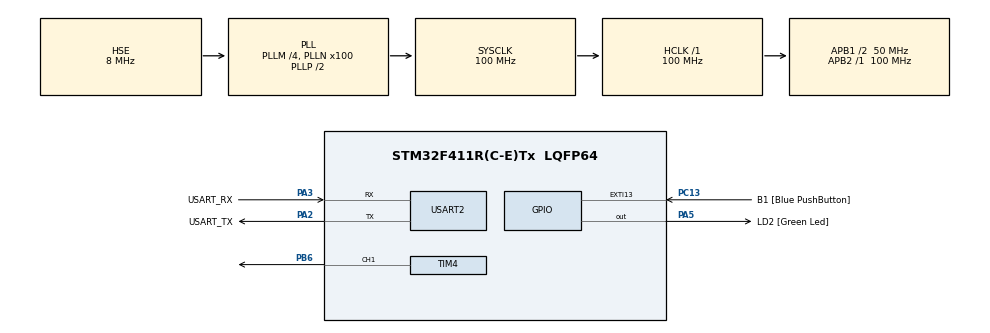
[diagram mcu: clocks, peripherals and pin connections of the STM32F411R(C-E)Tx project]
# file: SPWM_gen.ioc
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Dma.Request0=TIM4_CH1
Dma.TIM4_CH1.0.Direction=DMA_MEMORY_TO_PERIPH
Dma.TIM4_CH1.0.FIFOMode=DMA_FIFOMODE_ENABLE
Dma.TIM4_CH1.0.FIFOThreshold=DMA_FIFO_THRESHOLD_FULL
Dma.TIM4_CH1.0.Instance=DMA1_Stream0
Dma.TIM4_CH1.0.MemBurst=DMA_MBURST_SINGLE
Dma.TIM4_CH1.0.MemDataAlignment=DMA_MDATAALIGN_WORD
Dma.TIM4_CH1.0.MemInc=DMA_MINC_ENABLE
Dma.TIM4_CH1.0.Mode=DMA_CIRCULAR
Dma.TIM4_CH1.0.PeriphBurst=DMA_PBURST_SINGLE
Dma.TIM4_CH1.0.PeriphDataAlignment=DMA_PDATAALIGN_WORD
Dma.TIM4_CH1.0.PeriphInc=DMA_PINC_DISABLE
Dma.TIM4_CH1.0.Priority=DMA_PRIORITY_LOW
Mcu.Family=STM32F4
Mcu.Name=STM32F411R(C-E)Tx
Mcu.Package=LQFP64
NVIC.DMA1_Stream0_IRQn=true\:0\:0\:false\:false\:true\:false\:true\:true
NVIC.PriorityGroup=NVIC_PRIORITYGROUP_0
PA13.GPIO_Label=TMS
PA13.Mode=Serial_Wire
PA13.Signal=SYS_JTMS-SWDIO
PA14.GPIO_Label=TCK
PA14.Mode=Serial_Wire
PA14.Signal=SYS_JTCK-SWCLK
PA2.GPIO_Label=USART_TX
PA2.Mode=Asynchronous
PA2.Signal=USART2_TX
PA3.GPIO_Label=USART_RX
PA3.Mode=Asynchronous
PA3.Signal=USART2_RX
PA5.GPIO_Label=LD2 [Green Led]
PA5.Signal=GPIO_Output
PB3.GPIO_Label=SWO
PB3.Signal=SYS_JTDO-SWO
PB6.Signal=S_TIM4_CH1
PC13-ANTI_TAMP.GPIO_Label=B1 [Blue PushButton]
PC13-ANTI_TAMP.GPIO_ModeDefaultEXTI=GPIO_MODE_IT_FALLING
PC13-ANTI_TAMP.Signal=GPXTI13
PC14-OSC32_IN.Mode=LSE-External-Oscillator
PC14-OSC32_IN.Signal=RCC_OSC32_IN
PC15-OSC32_OUT.Mode=LSE-External-Oscillator
PC15-OSC32_OUT.Signal=RCC_OSC32_OUT
PH0\ -\ OSC_IN.Mode=HSE-External-Clock-Source
PH0\ -\ OSC_IN.Signal=RCC_OSC_IN
PH1\ -\ OSC_OUT.Mode=HSE-External-Clock-Source
PH1\ -\ OSC_OUT.Signal=RCC_OSC_OUT
ProjectManager.HeapSize=0x200
ProjectManager.StackSize=0x400
ProjectManager.TargetToolchain=STM32CubeIDE
RCC.48MHZClocksFreq_Value=50000000
RCC.AHBFreq_Value=100000000
RCC.APB1CLKDivider=RCC_HCLK_DIV2
RCC.APB1Freq_Value=50000000
RCC.APB1TimFreq_Value=100000000
RCC.APB2Freq_Value=100000000
RCC.APB2TimFreq_Value=100000000
RCC.CortexFreq_Value=100000000
RCC.FLatency-AdvancedSettings=FLASH_LATENCY_3
RCC.HCLKFreq_Value=100000000
RCC.HSE_VALUE=8000000
RCC.HSI_VALUE=16000000
RCC.PLLM=4
RCC.PLLN=100
RCC.PLLSourceVirtual=RCC_PLLSOURCE_HSE
RCC.SYSCLKFreq_VALUE=100000000
RCC.SYSCLKSource=RCC_SYSCLKSOURCE_PLLCLK
RCC.VCOOutputFreq_Value=200000000
SH.S_TIM4_CH1.0=TIM4_CH1,PWM Generation1 CH1
TIM4.AutoReloadPreload=TIM_AUTORELOAD_PRELOAD_ENABLE
TIM4.Channel-PWM\ Generation1\ CH1=TIM_CHANNEL_1
TIM4.CounterMode=TIM_COUNTERMODE_CENTERALIGNED1
TIM4.Period=3333
TIM4.Pulse-PWM\ Generation1\ CH1=1
USART2.VirtualMode=VM_ASYNC
board=NUCLEO-F411RE

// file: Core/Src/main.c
/* USER CODE BEGIN Header */
/**
  ******************************************************************************
  * @file           : main.c
  * @brief          : Main program body
  ******************************************************************************
  * @attention
  *
  * Copyright (c) 2025 STMicroelectronics.
  * All rights reserved.
  *
  * This software is licensed under terms that can be found in the LICENSE file
  * in the root directory of this software component.
  * If no LICENSE file comes with this software, it is provided AS-IS.
  *
  ******************************************************************************
  */
/* USER CODE END Header */

#include "main.h"
#include <stdio.h>
#include <string.h>
#include <math.h>               // Necessário para sinf()

/* USER CODE BEGIN PD */
#define CCRValue_BufferSize     300
/* USER CODE END PD */

TIM_HandleTypeDef htim4;
DMA_HandleTypeDef hdma_tim4_ch1;
UART_HandleTypeDef huart2;

/* USER CODE BEGIN PV */
/* Buffer alinhado para DMA (recomendo manter alinhado conforme DMA) */
__attribute__((aligned(32))) uint32_t DiscontinuousSineCCRValue_Buffer[CCRValue_BufferSize];
/* USER CODE END PV */

void SystemClock_Config(void);
static void MX_GPIO_Init(void);
static void MX_DMA_Init(void);
static void MX_USART2_UART_Init(void);
static void MX_TIM4_Init(void);

/* USER CODE BEGIN PFP */
void Generate_Sine_LUT(void);
/* USER CODE END PFP */

/* USER CODE BEGIN 0 */
void Generate_Sine_LUT(void)
{
    const uint32_t PERIOD = 3333;               // Timer Period para 15 kHz PWM (center aligned)
    const uint32_t CENTER = PERIOD / 2;         // Valor central (50% duty)
    const uint32_t AMPLITUDE = (uint32_t)(CENTER * 0.9f);  // 90% amplitude para evitar saturação

    for (int i = 0; i < CCRValue_BufferSize; i++)
    {
        float angle = (2.0f * M_PI * i) / CCRValue_BufferSize;
        float sine_value = sinf(angle);

        int32_t val = CENTER + (int32_t)(AMPLITUDE * sine_value);

        // Limites mínimos e máximos para evitar under/overflow do CCR
        if (val < 10)
            val = 10;
        else if (val >= (int32_t)PERIOD)
            val = PERIOD - 1;

        DiscontinuousSineCCRValue_Buffer[i] = (uint32_t)val;
    }
}
/* USER CODE END 0 */

int main(void)
{

  /* MCU Configuration--------------------------------------------------------*/

  HAL_Init();

  SystemClock_Config();

  MX_GPIO_Init();
  MX_DMA_Init();
  MX_USART2_UART_Init();
  MX_TIM4_Init();

  /* Gerar LUT */
  Generate_Sine_LUT();

  /* Iniciar PWM com DMA */
  HAL_TIM_PWM_Start_DMA(&htim4, TIM_CHANNEL_1, DiscontinuousSineCCRValue_Buffer, CCRValue_BufferSize);

  /* Infinite loop */
  while (1)
  {
    /* Envia leitura atual do CCR1 via UART */
    char msg[32];
    sprintf(msg, "CCR1: %lu\r\n", TIM4->CCR1);
    HAL_UART_Transmit(&huart2, (uint8_t*)msg, strlen(msg), HAL_MAX_DELAY);

    HAL_Delay(10);
  }
}

void SystemClock_Config(void)
{
  RCC_OscInitTypeDef RCC_OscInitStruct = {0};
  RCC_ClkInitTypeDef RCC_ClkInitStruct = {0};

  __HAL_RCC_PWR_CLK_ENABLE();
  __HAL_PWR_VOLTAGESCALING_CONFIG(PWR_REGULATOR_VOLTAGE_SCALE1);

  RCC_OscInitStruct.OscillatorType = RCC_OSCILLATORTYPE_HSE;
  RCC_OscInitStruct.HSEState = RCC_HSE_BYPASS;
  RCC_OscInitStruct.PLL.PLLState = RCC_PLL_ON;
  RCC_OscInitStruct.PLL.PLLSource = RCC_PLLSOURCE_HSE;
  RCC_OscInitStruct.PLL.PLLM = 4;
  RCC_OscInitStruct.PLL.PLLN = 100;
  RCC_OscInitStruct.PLL.PLLP = RCC_PLLP_DIV2;
  RCC_OscInitStruct.PLL.PLLQ = 4;
  if (HAL_RCC_OscConfig(&RCC_OscInitStruct) != HAL_OK)
  {
    Error_Handler();
  }

  RCC_ClkInitStruct.ClockType = RCC_CLOCKTYPE_HCLK|RCC_CLOCKTYPE_SYSCLK
                              |RCC_CLOCKTYPE_PCLK1|RCC_CLOCKTYPE_PCLK2;

  RCC_ClkInitStruct.SYSCLKSource = RCC_SYSCLKSOURCE_PLLCLK;
  RCC_ClkInitStruct.AHBCLKDivider = RCC_SYSCLK_DIV1;
  RCC_ClkInitStruct.APB1CLKDivider = RCC_HCLK_DIV2;
  RCC_ClkInitStruct.APB2CLKDivider = RCC_HCLK_DIV1;

  if (HAL_RCC_ClockConfig(&RCC_ClkInitStruct, FLASH_LATENCY_3) != HAL_OK)
  {
    Error_Handler();
  }
}

static void MX_TIM4_Init(void)
{
  TIM_MasterConfigTypeDef sMasterConfig = {0};
  TIM_OC_InitTypeDef sConfigOC = {0};

  htim4.Instance = TIM4;
  htim4.Init.Prescaler = 0;                          // Prescaler 0 para maior resolução
  htim4.Init.CounterMode = TIM_COUNTERMODE_CENTERALIGNED1;
  htim4.Init.Period = 3333;                          // Período para 15kHz PWM (ajustar conforme clock timer)
  htim4.Init.ClockDivision = TIM_CLOCKDIVISION_DIV1;
  htim4.Init.AutoReloadPreload = TIM_AUTORELOAD_PRELOAD_ENABLE;
  if (HAL_TIM_PWM_Init(&htim4) != HAL_OK)
  {
    Error_Handler();
  }

  sMasterConfig.MasterOutputTrigger = TIM_TRGO_RESET;
  sMasterConfig.MasterSlaveMode = TIM_MASTERSLAVEMODE_DISABLE;

  if (HAL_TIMEx_MasterConfigSynchronization(&htim4, &sMasterConfig) != HAL_OK)
  {
    Error_Handler();
  }

  sConfigOC.OCMode = TIM_OCMODE_PWM1;
  sConfigOC.Pulse = 1667;   // Inicial 50%
  sConfigOC.OCPolarity = TIM_OCPOLARITY_HIGH;
  sConfigOC.OCFastMode = TIM_OCFAST_DISABLE;
  if (HAL_TIM_PWM_ConfigChannel(&htim4, &sConfigOC, TIM_CHANNEL_1) != HAL_OK)
  {
    Error_Handler();
  }

  HAL_TIM_MspPostInit(&htim4);
}

static void MX_USART2_UART_Init(void)
{
  huart2.Instance = USART2;
  huart2.Init.BaudRate = 115200;
  huart2.Init.WordLength = UART_WORDLENGTH_8B;
  huart2.Init.StopBits = UART_STOPBITS_1;
  huart2.Init.Parity = UART_PARITY_NONE;
  huart2.Init.Mode = UART_MODE_TX_RX;
  huart2.Init.HwFlowCtl = UART_HWCONTROL_NONE;
  huart2.Init.OverSampling = UART_OVERSAMPLING_16;
  if (HAL_UART_Init(&huart2) != HAL_OK)
  {
    Error_Handler();
  }
}

static void MX_DMA_Init(void)
{
  __HAL_RCC_DMA1_CLK_ENABLE();

  /* Configure NVIC for DMA stream handling */
  HAL_NVIC_SetPriority(DMA1_Stream0_IRQn, 0, 0);
  HAL_NVIC_EnableIRQ(DMA1_Stream0_IRQn);
}

static void MX_GPIO_Init(void)
{
  GPIO_InitTypeDef GPIO_InitStruct = {0};

  __HAL_RCC_GPIOC_CLK_ENABLE();
  __HAL_RCC_GPIOH_CLK_ENABLE();
  __HAL_RCC_GPIOA_CLK_ENABLE();
  __HAL_RCC_GPIOB_CLK_ENABLE();

  HAL_GPIO_WritePin(LD2_GPIO_Port, LD2_Pin, GPIO_PIN_RESET);

  GPIO_InitStruct.Pin = B1_Pin;
  GPIO_InitStruct.Mode = GPIO_MODE_IT_FALLING;
  GPIO_InitStruct.Pull = GPIO_NOPULL;
  HAL_GPIO_Init(B1_GPIO_Port, &GPIO_InitStruct);

  GPIO_InitStruct.Pin = LD2_Pin;
  GPIO_InitStruct.Mode = GPIO_MODE_OUTPUT_PP;
  GPIO_InitStruct.Pull = GPIO_NOPULL;
  GPIO_InitStruct.Speed = GPIO_SPEED_FREQ_LOW;
  HAL_GPIO_Init(LD2_GPIO_Port, &GPIO_InitStruct);
}

void Error_Handler(void)
{
  __disable_irq();
  while (1)
  {
  }
}
